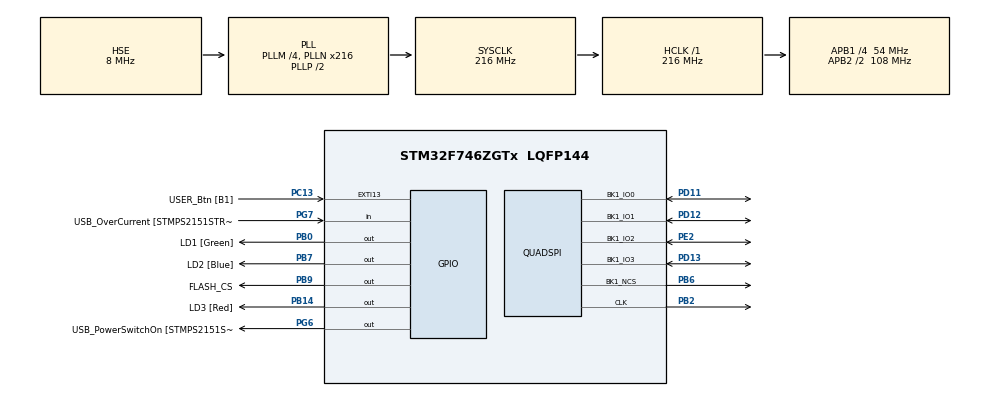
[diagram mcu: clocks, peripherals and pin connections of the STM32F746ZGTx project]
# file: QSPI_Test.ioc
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CORTEX_M7.CPU_DCache=Enabled
CORTEX_M7.CPU_ICache=Enabled
Mcu.Family=STM32F7
Mcu.Name=STM32F746ZGTx
Mcu.Package=LQFP144
NVIC.PriorityGroup=NVIC_PRIORITYGROUP_4
PA10.GPIO_Label=USB_ID
PA10.Signal=USB_OTG_FS_ID
PA11.GPIO_Label=USB_DM
PA11.Signal=USB_OTG_FS_DM
PA12.GPIO_Label=USB_DP
PA12.Signal=USB_OTG_FS_DP
PA13.GPIO_Label=TMS
PA13.Mode=Serial_Wire
PA13.Signal=SYS_JTMS-SWDIO
PA14.GPIO_Label=TCK
PA14.Mode=Serial_Wire
PA14.Signal=SYS_JTCK-SWCLK
PA8.GPIO_Label=USB_SOF [TP1]
PA8.Signal=USB_OTG_FS_SOF
PA9.GPIO_Label=USB_VBUS
PA9.Signal=USB_OTG_FS_VBUS
PB0.GPIO_Label=LD1 [Green]
PB0.Signal=GPIO_Output
PB14.GPIO_Label=LD3 [Red]
PB14.Signal=GPIO_Output
PB2.Mode=Single Bank 1
PB2.Signal=QUADSPI_CLK
PB3.Signal=SYS_JTDO-SWO
PB6.Mode=Single Bank 1
PB6.Signal=QUADSPI_BK1_NCS
PB7.GPIO_Label=LD2 [Blue]
PB7.Signal=GPIO_Output
PB9.GPIO_Label=FLASH_CS
PB9.Signal=GPIO_Output
PC1.GPIO_Label=RMII_MDC [LAN8742A-CZ-TR_MDC]
PC1.Signal=ETH_MDC
PC13.GPIO_Label=USER_Btn [B1]
PC13.Signal=GPXTI13
PC14/OSC32_IN.Mode=LSE-External-Oscillator
PC14/OSC32_IN.Signal=RCC_OSC32_IN
PC15/OSC32_OUT.Mode=LSE-External-Oscillator
PC15/OSC32_OUT.Signal=RCC_OSC32_OUT
PD11.Mode=Single Bank 1
PD11.Signal=QUADSPI_BK1_IO0
PD12.Mode=Single Bank 1
PD12.Signal=QUADSPI_BK1_IO1
PD13.Mode=Single Bank 1
PD13.Signal=QUADSPI_BK1_IO3
PD8.GPIO_Label=STLK_RX [STM32F103CBT6_PA3]
PD8.Signal=USART3_TX
PD9.GPIO_Label=STLK_TX [STM32F103CBT6_PA2]
PD9.Signal=USART3_RX
PE2.Mode=Single Bank 1
PE2.Signal=QUADSPI_BK1_IO2
PG6.GPIO_Label=USB_PowerSwitchOn [STMPS2151STR_EN]
PG6.Signal=GPIO_Output
PG7.GPIO_Label=USB_OverCurrent [STMPS2151STR_FAULT]
PG7.Signal=GPIO_Input
PH0/OSC_IN.GPIO_Label=MCO [STM32F103CBT6_PA8]
PH0/OSC_IN.Mode=HSE-External-Clock-Source
PH0/OSC_IN.Signal=RCC_OSC_IN
PH1/OSC_OUT.Mode=HSE-External-Clock-Source
PH1/OSC_OUT.Signal=RCC_OSC_OUT
ProjectManager.HeapSize=0x200
ProjectManager.StackSize=0x400
ProjectManager.TargetToolchain=STM32CubeIDE
QUADSPI.ChipSelectHighTime=QSPI_CS_HIGH_TIME_6_CYCLE
QUADSPI.FlashSize=23
RCC.48MHZClocksFreq_Value=24000000
RCC.AHBFreq_Value=216000000
RCC.APB1CLKDivider=RCC_HCLK_DIV4
RCC.APB1Freq_Value=54000000
RCC.APB1TimFreq_Value=108000000
RCC.APB2CLKDivider=RCC_HCLK_DIV2
RCC.APB2Freq_Value=108000000
RCC.APB2TimFreq_Value=216000000
RCC.CortexFreq_Value=216000000
RCC.HCLKFreq_Value=216000000
RCC.HSE_VALUE=8000000
RCC.HSI_VALUE=16000000
RCC.PLLM=4
RCC.PLLMUL=RCC_PLL_MUL9
RCC.PLLN=216
RCC.PLLQ=9
RCC.PLLSourceVirtual=RCC_PLLSOURCE_HSE
RCC.PRESCALERUSB=RCC_USBCLKSOURCE_PLL_DIV1_5
RCC.SYSCLKFreq_VALUE=216000000
RCC.SYSCLKSource=RCC_SYSCLKSOURCE_PLLCLK
RCC.SYSCLKSourceVirtual=RCC_SYSCLKSOURCE_PLLCLK
RCC.USBFreq_Value=48000000
RCC.VCOOutputFreq_Value=432000000
board=NUCLEO-F746ZG

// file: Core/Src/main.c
/* USER CODE BEGIN Header */
/**
  ******************************************************************************
  * @file           : main.c
  * @brief          : Main program body
  ******************************************************************************
  * @attention
  *
  * <h2><center>&copy; Copyright (c) 2021 STMicroelectronics.
  * All rights reserved.</center></h2>
  *
  * This software component is licensed by ST under BSD 3-Clause license,
  * the "License"; You may not use this file except in compliance with the
  * License. You may obtain a copy of the License at:
  *                        opensource.org/licenses/BSD-3-Clause
  *
  ******************************************************************************
  */
/* USER CODE END Header */
#include "main.h"
#include "quadspi.h"
#include "gpio.h"

/* USER CODE BEGIN Includes */
#include "string.h"

/* USER CODE END Includes */

void SystemClock_Config(void);

/* USER CODE BEGIN 0 */
uint8_t *writebuf = "Hello world from QSPI !";

uint8_t readbuf[100];

uint16_t number = 1234;
uint8_t buf[100];
/* USER CODE END 0 */

int main(void)
{

  /* Enable I-Cache---------------------------------------------------------*/
  SCB_EnableICache();

  /* Enable D-Cache---------------------------------------------------------*/
  SCB_EnableDCache();

  /* MCU Configuration--------------------------------------------------------*/

  /* Reset of all peripherals, Initializes the Flash interface and the Systick. */
  HAL_Init();

  /* Configure the system clock */
  SystemClock_Config();

  /* Initialize all configured peripherals */
  MX_GPIO_Init();
  MX_QUADSPI_Init();
  /* USER CODE BEGIN 2 */
  if (CSP_QUADSPI_Init() != HAL_OK)
  {
	  Error_Handler();
  }

  if (CSP_QSPI_Erase_Block(0) != HAL_OK)
  {
 	  Error_Handler();
  }

  HAL_Delay(4000);
  memset(buf,'A',100);
  if (CSP_QSPI_Write(buf, 0, 100) != HAL_OK)
  {
	 Error_Handler();
  }

  if (CSP_QSPI_Read(readbuf, 0, 100) != HAL_OK)
  {
    Error_Handler();
  }
  /* USER CODE END 2 */

  /* Infinite loop */
  while (1)
  {

  }
}

void SystemClock_Config(void)
{
  RCC_OscInitTypeDef RCC_OscInitStruct = {0};
  RCC_ClkInitTypeDef RCC_ClkInitStruct = {0};

  /** Configure LSE Drive Capability
  */
  HAL_PWR_EnableBkUpAccess();
  /** Configure the main internal regulator output voltage
  */
  __HAL_RCC_PWR_CLK_ENABLE();
  __HAL_PWR_VOLTAGESCALING_CONFIG(PWR_REGULATOR_VOLTAGE_SCALE1);
  /** Initializes the RCC Oscillators according to the specified parameters
  * in the RCC_OscInitTypeDef structure.
  */
  RCC_OscInitStruct.OscillatorType = RCC_OSCILLATORTYPE_HSE;
  RCC_OscInitStruct.HSEState = RCC_HSE_BYPASS;
  RCC_OscInitStruct.PLL.PLLState = RCC_PLL_ON;
  RCC_OscInitStruct.PLL.PLLSource = RCC_PLLSOURCE_HSE;
  RCC_OscInitStruct.PLL.PLLM = 4;
  RCC_OscInitStruct.PLL.PLLN = 216;
  RCC_OscInitStruct.PLL.PLLP = RCC_PLLP_DIV2;
  RCC_OscInitStruct.PLL.PLLQ = 9;
  if (HAL_RCC_OscConfig(&RCC_OscInitStruct) != HAL_OK)
  {
    Error_Handler();
  }
  /** Activate the Over-Drive mode
  */
  if (HAL_PWREx_EnableOverDrive() != HAL_OK)
  {
    Error_Handler();
  }
  /** Initializes the CPU, AHB and APB buses clocks
  */
  RCC_ClkInitStruct.ClockType = RCC_CLOCKTYPE_HCLK|RCC_CLOCKTYPE_SYSCLK
                              |RCC_CLOCKTYPE_PCLK1|RCC_CLOCKTYPE_PCLK2;
  RCC_ClkInitStruct.SYSCLKSource = RCC_SYSCLKSOURCE_PLLCLK;
  RCC_ClkInitStruct.AHBCLKDivider = RCC_SYSCLK_DIV1;
  RCC_ClkInitStruct.APB1CLKDivider = RCC_HCLK_DIV4;
  RCC_ClkInitStruct.APB2CLKDivider = RCC_HCLK_DIV2;

  if (HAL_RCC_ClockConfig(&RCC_ClkInitStruct, FLASH_LATENCY_7) != HAL_OK)
  {
    Error_Handler();
  }
}

void Error_Handler(void)
{
  __disable_irq();
  while (1)
  {
  }
}

/************************ (C) COPYRIGHT STMicroelectronics *****END OF FILE****/
